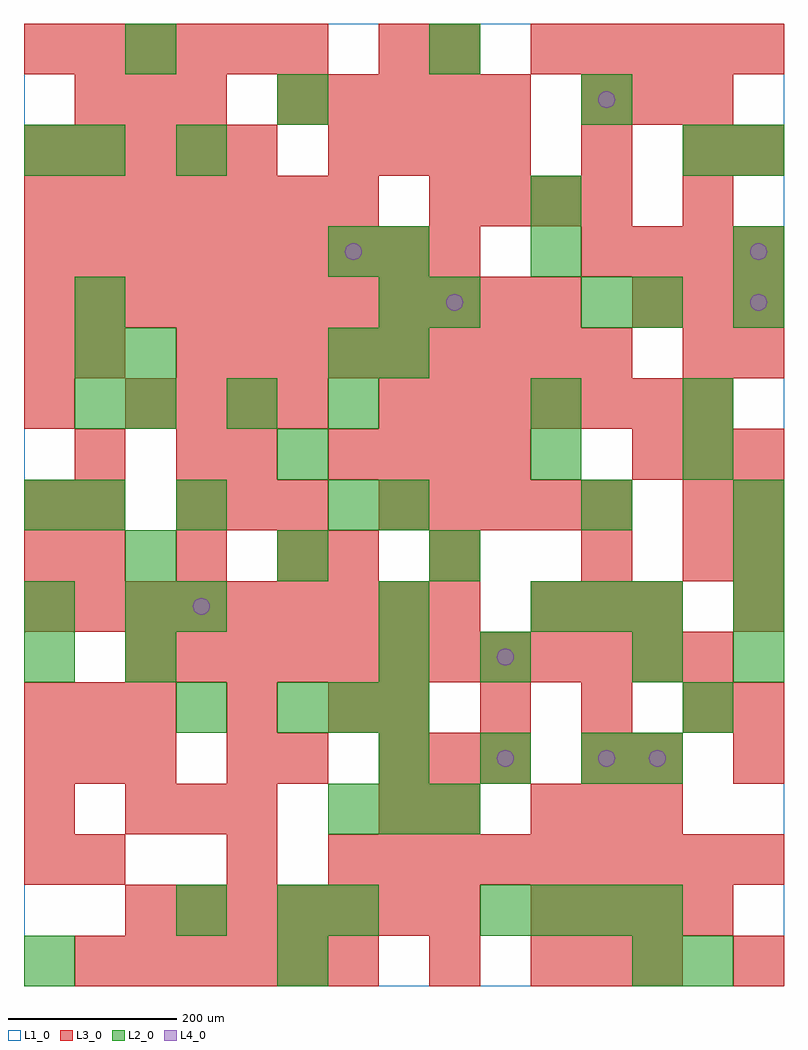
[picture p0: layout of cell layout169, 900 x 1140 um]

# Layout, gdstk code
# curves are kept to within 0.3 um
import gdstk
lib = gdstk.Library(unit=1e-6, precision=1e-09)
def R(c, l, rs):  # rectangles x0, y0, x1, y1
    for r in rs: c.add(gdstk.rectangle(r[:2], r[2:], *l))
def A(c, l, x, y, w, h, nx, ny, dx, dy):  # array of equal rectangles
    R(c, l, [(x+i*dx, y+j*dy, x+i*dx+w, y+j*dy+h) for i in range(nx) for j in range(ny)])
def P(c, l, *ps):  # polygons
    for p in ps: c.add(gdstk.Polygon(p, *l))
L1_0 = (1, 0)
L2_0 = (2, 0)
L3_0 = (3, 0)
L4_0 = (4, 0)

layout169 = lib.new_cell('layout169')
R(layout169, L1_0, [(0,0,900,1140)])
A(layout169, L2_0, 780, 0, 60, 60, 1, 3, 0, 300)
A(layout169, L2_0, 540, 60, 60, 60, 4, 1, 60, 0)
A(layout169, L2_0, 360, 180, 60, 60, 3, 1, 60, 0)
A(layout169, L2_0, 420, 240, 60, 60, 3, 1, 120, 0)
A(layout169, L2_0, 180, 300, 60, 60, 1, 3, 0, 120)
A(layout169, L2_0, 300, 300, 60, 60, 3, 1, 60, 0)
A(layout169, L2_0, 840, 360, 60, 60, 1, 4, 0, 60)
A(layout169, L2_0, 600, 420, 60, 60, 3, 1, 60, 0)
A(layout169, L2_0, 120, 480, 60, 60, 3, 1, 180, 0)
A(layout169, L2_0, 660, 540, 60, 60, 1, 3, 0, 240)
A(layout169, L2_0, 60, 660, 60, 60, 1, 3, 0, 60)
A(layout169, L2_0, 120, 660, 60, 60, 3, 1, 120, 0)
A(layout169, L2_0, 420, 720, 60, 60, 1, 3, 0, 60)
R(layout169, L2_0, [(0,0,60,60), (300,0,360,60), (720,0,780,60), (180,60,240,120), (300,60,360,120), (360,60,420,120), (720,240,780,300), (0,360,60,420), (120,360,180,420), (420,360,480,420), (540,360,600,420), (720,360,780,420), (0,420,60,480), (120,420,180,480), (420,420,480,480), (0,540,60,600), (60,540,120,600), (360,540,420,600), (420,540,480,600), (300,600,360,660), (600,600,660,660), (600,660,660,720), (780,660,840,720), (120,720,180,780), (360,720,420,780), (480,780,540,840), (720,780,780,840), (840,780,900,840), (360,840,420,900), (600,840,660,900), (840,840,900,900), (600,900,660,960), (0,960,60,1020), (60,960,120,1020), (180,960,240,1020), (780,960,840,1020), (840,960,900,1020), (300,1020,360,1080), (120,1080,180,1140), (480,1080,540,1140)])
A(layout169, L3_0, 60, 0, 60, 60, 6, 1, 60, 0)
A(layout169, L3_0, 600, 0, 60, 60, 3, 2, 60, 180)
A(layout169, L3_0, 120, 60, 60, 60, 7, 1, 60, 0)
A(layout169, L3_0, 600, 60, 60, 60, 4, 1, 60, 0)
A(layout169, L3_0, 360, 120, 60, 60, 9, 1, 60, 0)
A(layout169, L3_0, 120, 180, 60, 60, 3, 1, 60, 0)
A(layout169, L3_0, 0, 240, 60, 60, 3, 2, 60, 60)
A(layout169, L3_0, 420, 240, 60, 60, 3, 1, 60, 0)
A(layout169, L3_0, 420, 300, 60, 60, 4, 1, 120, 0)
A(layout169, L3_0, 120, 360, 60, 60, 12, 1, 60, 0)
A(layout169, L3_0, 0, 420, 60, 60, 9, 2, 60, 420)
A(layout169, L3_0, 600, 420, 60, 60, 3, 1, 60, 0)
A(layout169, L3_0, 840, 420, 60, 60, 1, 3, 0, 60)
A(layout169, L3_0, 60, 480, 60, 60, 3, 1, 120, 0)
A(layout169, L3_0, 180, 540, 60, 60, 3, 1, 60, 0)
A(layout169, L3_0, 420, 540, 60, 60, 5, 1, 60, 0)
A(layout169, L3_0, 780, 540, 60, 60, 1, 3, 0, 180)
A(layout169, L3_0, 360, 600, 60, 60, 4, 2, 60, 360)
A(layout169, L3_0, 720, 600, 60, 60, 3, 2, 60, 180)
A(layout169, L3_0, 120, 660, 60, 60, 4, 1, 60, 0)
A(layout169, L3_0, 420, 660, 60, 60, 7, 1, 60, 0)
A(layout169, L3_0, 180, 720, 60, 60, 9, 1, 60, 0)
A(layout169, L3_0, 0, 780, 60, 60, 11, 1, 60, 0)
A(layout169, L3_0, 660, 840, 60, 60, 4, 1, 60, 0)
A(layout169, L3_0, 0, 900, 60, 60, 7, 1, 60, 0)
A(layout169, L3_0, 480, 900, 60, 60, 4, 1, 60, 0)
A(layout169, L3_0, 0, 960, 60, 60, 5, 1, 60, 0)
A(layout169, L3_0, 60, 1020, 60, 60, 3, 1, 60, 0)
A(layout169, L3_0, 300, 1020, 60, 60, 5, 1, 60, 0)
A(layout169, L3_0, 660, 1020, 60, 60, 3, 1, 60, 0)
A(layout169, L3_0, 0, 1080, 60, 60, 6, 1, 60, 0)
A(layout169, L3_0, 600, 1080, 60, 60, 5, 1, 60, 0)
R(layout169, L3_0, [(480,0,540,60), (840,0,900,60), (0,120,60,180), (60,120,120,180), (240,120,300,180), (0,180,60,240), (420,180,480,240), (480,180,540,240), (240,240,300,300), (300,240,360,300), (660,240,720,300), (720,240,780,300), (840,240,900,300), (240,300,300,360), (360,300,420,360), (840,300,900,360), (0,480,60,540), (360,480,420,540), (480,480,540,540), (660,480,720,540), (780,480,840,540), (0,540,60,600), (60,540,120,600), (60,600,120,660), (180,600,240,660), (240,600,300,660), (0,660,60,720), (0,720,60,780), (60,720,120,780), (840,720,900,780), (660,960,720,1020), (780,960,840,1020), (840,960,900,1020), (420,1080,480,1140), (480,1080,540,1140)])
P(layout169, L4_0, [(220,450),(219.239,453.827),(217.071,457.071),(213.827,459.239),(210,460),(206.173,459.239),(202.929,457.071),(200.761,453.827),(200,450),(200.761,446.173),(202.929,442.929),(206.173,440.761),(210,440),(213.827,440.761),(217.071,442.929),(219.239,446.173)],
  [(400,870),(399.239,873.827),(397.071,877.071),(393.827,879.239),(390,880),(386.173,879.239),(382.929,877.071),(380.761,873.827),(380,870),(380.761,866.173),(382.929,862.929),(386.173,860.761),(390,860),(393.827,860.761),(397.071,862.929),(399.239,866.173)],
  [(520,810),(519.239,813.827),(517.071,817.071),(513.827,819.239),(510,820),(506.173,819.239),(502.929,817.071),(500.761,813.827),(500,810),(500.761,806.173),(502.929,802.929),(506.173,800.761),(510,800),(513.827,800.761),(517.071,802.929),(519.239,806.173)],
  [(580,270),(579.239,273.827),(577.071,277.071),(573.827,279.239),(570,280),(566.173,279.239),(562.929,277.071),(560.761,273.827),(560,270),(560.761,266.173),(562.929,262.929),(566.173,260.761),(570,260),(573.827,260.761),(577.071,262.929),(579.239,266.173)],
  [(580,390),(579.239,393.827),(577.071,397.071),(573.827,399.239),(570,400),(566.173,399.239),(562.929,397.071),(560.761,393.827),(560,390),(560.761,386.173),(562.929,382.929),(566.173,380.761),(570,380),(573.827,380.761),(577.071,382.929),(579.239,386.173)],
  [(700,270),(699.239,273.827),(697.071,277.071),(693.827,279.239),(690,280),(686.173,279.239),(682.929,277.071),(680.761,273.827),(680,270),(680.761,266.173),(682.929,262.929),(686.173,260.761),(690,260),(693.827,260.761),(697.071,262.929),(699.239,266.173)],
  [(700,1050),(699.239,1053.827),(697.071,1057.071),(693.827,1059.239),(690,1060),(686.173,1059.239),(682.929,1057.071),(680.761,1053.827),(680,1050),(680.761,1046.173),(682.929,1042.929),(686.173,1040.761),(690,1040),(693.827,1040.761),(697.071,1042.929),(699.239,1046.173)],
  [(760,270),(759.239,273.827),(757.071,277.071),(753.827,279.239),(750,280),(746.173,279.239),(742.929,277.071),(740.761,273.827),(740,270),(740.761,266.173),(742.929,262.929),(746.173,260.761),(750,260),(753.827,260.761),(757.071,262.929),(759.239,266.173)],
  [(880,810),(879.239,813.827),(877.071,817.071),(873.827,819.239),(870,820),(866.173,819.239),(862.929,817.071),(860.761,813.827),(860,810),(860.761,806.173),(862.929,802.929),(866.173,800.761),(870,800),(873.827,800.761),(877.071,802.929),(879.239,806.173)],
  [(880,870),(879.239,873.827),(877.071,877.071),(873.827,879.239),(870,880),(866.173,879.239),(862.929,877.071),(860.761,873.827),(860,870),(860.761,866.173),(862.929,862.929),(866.173,860.761),(870,860),(873.827,860.761),(877.071,862.929),(879.239,866.173)])

lib.write_gds('layout169.gds')
